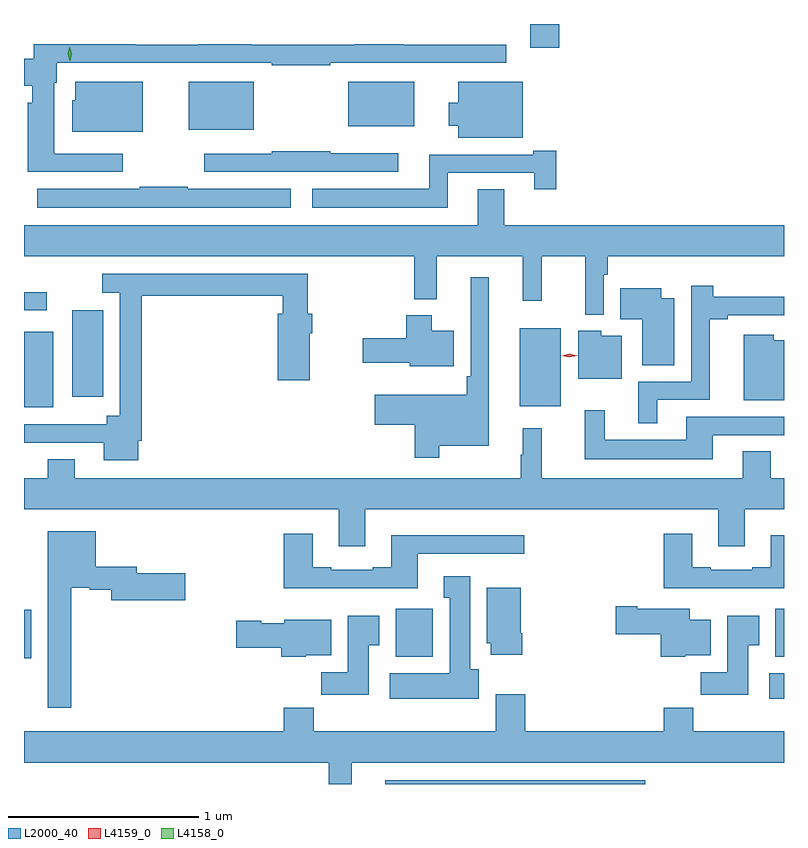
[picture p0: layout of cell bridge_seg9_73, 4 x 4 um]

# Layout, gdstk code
import gdstk
lib = gdstk.Library(unit=1e-6, precision=1e-09)
def R(c, l, rs):  # rectangles x0, y0, x1, y1
    for r in rs: c.add(gdstk.rectangle(r[:2], r[2:], *l))
def P(c, l, *ps):  # polygons
    for p in ps: c.add(gdstk.Polygon(p, *l))
L2000_40 = (2000, 40)
L4158_0 = (4158, 0)
L4159_0 = (4159, 0)

bridge_seg9_73 = lib.new_cell('bridge_seg9_73')
R(bridge_seg9_73, L2000_40, [(1024.595,1216.287,1025.963,1216.308), (1026.615,1216.736,1026.693,1216.87), (1022.693,1216.949,1022.731,1217.203), (1024.649,1216.958,1024.845,1217.209), (1026.647,1216.958,1026.693,1217.209), (1022.693,1218.269,1022.848,1218.667), (1025.303,1218.275,1025.518,1218.685), (1022.948,1218.324,1023.109,1218.781), (1022.693,1218.78,1022.812,1218.876), (1023.56,1219.73,1023.901,1219.984), (1024.4,1219.748,1024.747,1219.984), (1025.357,1220.163,1025.51,1220.287)])
P(bridge_seg9_73, L2000_40, [(1023.214,1219.605),(1022.853,1219.605),(1022.853,1219.977),(1022.866,1219.977),(1022.866,1220.082),(1023.997,1220.082),(1023.997,1220.07),(1024.304,1220.07),(1024.304,1220.082),(1025.23,1220.082),(1025.23,1220.178),(1024.691,1220.178),(1024.691,1220.18),(1024.435,1220.18),(1024.435,1220.178),(1023.89,1220.178),(1023.89,1220.18),(1023.613,1220.18),(1023.613,1220.178),(1023.281,1220.178),(1023.281,1220.18),(1022.744,1220.18),(1022.744,1220.103),(1022.693,1220.103),(1022.693,1219.961),(1022.737,1219.961),(1022.737,1219.873),(1022.714,1219.873),(1022.714,1219.509),(1023.214,1219.509)],
  [(1025.317,1219.984),(1024.979,1219.984),(1024.979,1219.873),(1024.928,1219.873),(1024.928,1219.751),(1024.979,1219.751),(1024.979,1219.688),(1025.317,1219.688)],
  [(1023.319,1219.984),(1022.963,1219.984),(1022.963,1219.887),(1022.948,1219.887),(1022.948,1219.721),(1023.319,1219.721)],
  [(1024.924,1219.503),(1025.378,1219.503),(1025.378,1219.416),(1025.495,1219.416),(1025.495,1219.619),(1025.372,1219.619),(1025.372,1219.599),(1024.826,1219.599),(1024.826,1219.42),(1024.209,1219.42),(1024.209,1219.319),(1024.924,1219.319)],
  [(1024.663,1219.606),(1024.304,1219.606),(1024.304,1219.618),(1023.997,1219.618),(1023.997,1219.605),(1023.642,1219.605),(1023.642,1219.509),(1024.663,1219.509)],
  [(1024.096,1219.42),(1023.554,1219.42),(1023.554,1219.43),(1023.301,1219.43),(1023.301,1219.42),(1022.763,1219.42),(1022.763,1219.319),(1024.096,1219.319)],
  [(1025.745,1218.968),(1025.765,1218.968),(1025.765,1219.064),(1026.693,1219.064),(1026.693,1219.228),(1025.221,1219.228),(1025.221,1219.418),(1025.081,1219.418),(1025.081,1219.228),(1022.693,1219.228),(1022.693,1219.064),(1024.747,1219.064),(1024.747,1218.839),(1024.865,1218.839),(1024.865,1219.064),(1025.318,1219.064),(1025.318,1218.831),(1025.418,1218.831),(1025.418,1219.064),(1025.647,1219.064),(1025.647,1218.758),(1025.745,1218.758)],
  [(1023.295,1218.094),(1023.314,1218.094),(1023.314,1218.856),(1024.055,1218.856),(1024.055,1218.763),(1024.028,1218.763),(1024.028,1218.411),(1024.198,1218.411),(1024.198,1218.659),(1024.211,1218.659),(1024.211,1218.763),(1024.187,1218.763),(1024.187,1218.972),(1023.105,1218.972),(1023.105,1218.872),(1023.198,1218.872),(1023.198,1218.226),(1023.128,1218.226),(1023.128,1218.18),(1022.693,1218.18),(1022.693,1218.084),(1023.113,1218.084),(1023.113,1217.99),(1023.295,1217.99)],
  [(1024.879,1218.068),(1025.14,1218.068),(1025.14,1218.955),(1025.043,1218.955),(1025.043,1218.433),(1025.023,1218.433),(1025.023,1218.337),(1024.539,1218.337),(1024.539,1218.179),(1024.75,1218.179),(1024.75,1218.003),(1024.879,1218.003)],
  [(1026.025,1218.309),(1026.302,1218.309),(1026.302,1218.733),(1026.397,1218.733),(1026.397,1218.753),(1026.693,1218.753),(1026.693,1218.851),(1026.32,1218.851),(1026.32,1218.91),(1026.204,1218.91),(1026.204,1218.405),(1025.927,1218.405),(1025.927,1218.185),(1026.025,1218.185)],
  [(1026.115,1218.844),(1026.046,1218.844),(1026.046,1218.895),(1025.83,1218.895),(1025.83,1218.734),(1025.948,1218.734),(1025.948,1218.49),(1026.115,1218.49)],
  [(1024.954,1218.673),(1024.84,1218.673),(1024.84,1218.754),(1024.706,1218.754),(1024.706,1218.633),(1024.476,1218.633),(1024.476,1218.503),(1024.722,1218.503),(1024.722,1218.485),(1024.954,1218.485)],
  [(1025.839,1218.646),(1025.73,1218.646),(1025.73,1218.673),(1025.609,1218.673),(1025.609,1218.419),(1025.839,1218.419)],
  [(1026.693,1218.622),(1026.64,1218.622),(1026.64,1218.652),(1026.482,1218.652),(1026.482,1218.308),(1026.693,1218.308)],
  [(1026.319,1218.123),(1026.693,1218.123),(1026.693,1218.219),(1026.179,1218.219),(1026.179,1218.1),(1025.749,1218.1),(1025.749,1218.253),(1025.645,1218.253),(1025.645,1217.996),(1026.319,1217.996)],
  [(1024.489,1217.732),(1026.347,1217.732),(1026.347,1217.538),(1026.487,1217.538),(1026.487,1217.732),(1026.693,1217.732),(1026.693,1217.896),(1026.624,1217.896),(1026.624,1218.038),(1026.476,1218.038),(1026.476,1217.896),(1025.418,1217.896),(1025.418,1218.16),(1025.318,1218.16),(1025.318,1218.02),(1025.307,1218.02),(1025.307,1217.896),(1022.959,1217.896),(1022.959,1217.995),(1022.819,1217.995),(1022.819,1217.896),(1022.693,1217.896),(1022.693,1217.732),(1024.349,1217.732),(1024.349,1217.538),(1024.489,1217.538)],
  [(1022.941,1217.321),(1023.038,1217.321),(1023.038,1217.309),(1023.152,1217.309),(1023.152,1217.255),(1023.541,1217.255),(1023.541,1217.397),(1023.286,1217.397),(1023.286,1217.431),(1023.07,1217.431),(1023.07,1217.617),(1022.819,1217.617),(1022.819,1216.689),(1022.941,1216.689)],
  [(1024.765,1217.499),(1025.326,1217.499),(1025.326,1217.596),(1024.625,1217.596),(1024.625,1217.428),(1024.529,1217.428),(1024.529,1217.415),(1024.309,1217.415),(1024.309,1217.428),(1024.213,1217.428),(1024.213,1217.605),(1024.061,1217.605),(1024.061,1217.318),(1024.765,1217.318)],
  [(1026.693,1217.596),(1026.623,1217.596),(1026.623,1217.428),(1026.527,1217.428),(1026.527,1217.415),(1026.307,1217.415),(1026.307,1217.428),(1026.211,1217.428),(1026.211,1217.605),(1026.059,1217.605),(1026.059,1217.318),(1026.693,1217.318)],
  [(1025.086,1216.89),(1025.041,1216.89),(1025.041,1217.38),(1024.901,1217.38),(1024.901,1217.267),(1024.934,1217.267),(1024.934,1216.87),(1024.617,1216.87),(1024.617,1216.736),(1025.086,1216.736)],
  [(1025.316,1217.08),(1025.308,1217.08),(1025.308,1217.32),(1025.129,1217.32),(1025.129,1217.028),(1025.15,1217.028),(1025.15,1216.968),(1025.316,1216.968)],
  [(1026.174,1216.964),(1026.307,1216.964),(1026.307,1217.152),(1026.196,1217.152),(1026.196,1217.209),(1025.92,1217.209),(1025.92,1217.222),(1025.808,1217.222),(1025.808,1217.075),(1026.044,1217.075),(1026.044,1216.958),(1026.174,1216.958)],
  [(1024.507,1217.017),(1024.564,1217.017),(1024.564,1217.173),(1024.397,1217.173),(1024.397,1216.876),(1024.258,1216.876),(1024.258,1216.758),(1024.507,1216.758)],
  [(1026.505,1217.017),(1026.562,1217.017),(1026.562,1217.173),(1026.395,1217.173),(1026.395,1216.876),(1026.256,1216.876),(1026.256,1216.758),(1026.505,1216.758)],
  [(1024.176,1216.964),(1024.309,1216.964),(1024.309,1217.152),(1024.062,1217.152),(1024.062,1217.134),(1023.942,1217.134),(1023.942,1217.147),(1023.81,1217.147),(1023.81,1217.005),(1024.046,1217.005),(1024.046,1216.958),(1024.176,1216.958)],
  [(1024.417,1216.4),(1026.693,1216.4),(1026.693,1216.564),(1026.215,1216.564),(1026.215,1216.688),(1026.059,1216.688),(1026.059,1216.564),(1025.33,1216.564),(1025.33,1216.759),(1025.177,1216.759),(1025.177,1216.564),(1024.217,1216.564),(1024.217,1216.688),(1024.061,1216.688),(1024.061,1216.564),(1022.693,1216.564),(1022.693,1216.4),(1024.296,1216.4),(1024.296,1216.287),(1024.417,1216.287)])
P(bridge_seg9_73, L4158_0, [(1022.935,1220.094),(1022.935,1220.094),(1022.924,1220.13),(1022.933,1220.166),(1022.933,1220.166),(1022.933,1220.166),(1022.944,1220.13),(1022.936,1220.094)])
P(bridge_seg9_73, L4159_0, [(1025.564,1218.532),(1025.524,1218.542),(1025.523,1218.542),(1025.524,1218.542),(1025.564,1218.552),(1025.604,1218.542),(1025.604,1218.542),(1025.604,1218.542)])

lib.write_gds('bridge_seg9_73.gds')
